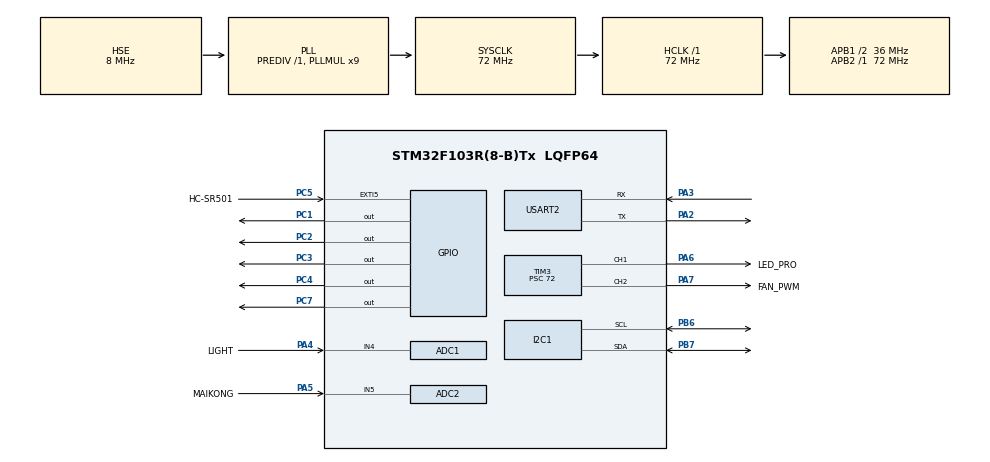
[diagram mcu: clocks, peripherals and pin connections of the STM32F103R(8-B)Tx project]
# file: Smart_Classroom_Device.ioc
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ADC1.Channel-6\#ChannelRegularConversion=ADC_CHANNEL_4
ADC1.NbrOfConversionFlag=1
ADC1.Rank-6\#ChannelRegularConversion=1
ADC1.SamplingTime-6\#ChannelRegularConversion=ADC_SAMPLETIME_1CYCLE_5
ADC1.master=1
ADC2.Channel-2\#ChannelRegularConversion=ADC_CHANNEL_5
ADC2.NbrOfConversionFlag=1
ADC2.Rank-2\#ChannelRegularConversion=1
ADC2.SamplingTime-2\#ChannelRegularConversion=ADC_SAMPLETIME_1CYCLE_5
Mcu.Family=STM32F1
Mcu.Name=STM32F103R(8-B)Tx
Mcu.Package=LQFP64
NVIC.EXTI9_5_IRQn=true\:1\:0\:true\:false\:true\:true\:true\:true
NVIC.PriorityGroup=NVIC_PRIORITYGROUP_4
NVIC.USART2_IRQn=true\:0\:0\:false\:false\:true\:true\:true\:true
PA2.Mode=Asynchronous
PA2.Signal=USART2_TX
PA3.Mode=Asynchronous
PA3.Signal=USART2_RX
PA4.GPIO_Label=LIGHT
PA4.Signal=ADCx_IN4
PA5.GPIO_Label=MAIKONG
PA5.Signal=ADCx_IN5
PA6.GPIO_Label=LED_PRO
PA6.Signal=S_TIM3_CH1
PA7.GPIO_Label=FAN_PWM
PA7.Signal=S_TIM3_CH2
PB6.Mode=I2C
PB6.Signal=I2C1_SCL
PB7.Mode=I2C
PB7.Signal=I2C1_SDA
PC1.Signal=GPIO_Output
PC2.Signal=GPIO_Output
PC3.Signal=GPIO_Output
PC4.Signal=GPIO_Output
PC5.GPIO_Label=HC-SR501
PC5.GPIO_PuPd=GPIO_PULLDOWN
PC5.Signal=GPXTI5
PC7.Signal=GPIO_Output
PD0-OSC_IN.Mode=HSE-External-Oscillator
PD0-OSC_IN.Signal=RCC_OSC_IN
PD1-OSC_OUT.Mode=HSE-External-Oscillator
PD1-OSC_OUT.Signal=RCC_OSC_OUT
ProjectManager.HeapSize=0x200
ProjectManager.StackSize=0x400
ProjectManager.TargetToolchain=MDK-ARM V5.32
RCC.ADCPresc=RCC_ADCPCLK2_DIV6
RCC.AHBFreq_Value=72000000
RCC.APB1CLKDivider=RCC_HCLK_DIV2
RCC.APB1Freq_Value=36000000
RCC.APB1TimFreq_Value=72000000
RCC.APB2Freq_Value=72000000
RCC.APB2TimFreq_Value=72000000
RCC.HCLKFreq_Value=72000000
RCC.PLLMUL=RCC_PLL_MUL9
RCC.PLLSourceVirtual=RCC_PLLSOURCE_HSE
RCC.SYSCLKFreq_VALUE=72000000
RCC.SYSCLKSource=RCC_SYSCLKSOURCE_PLLCLK
RCC.USBFreq_Value=72000000
SH.ADCx_IN4.0=ADC1_IN4,IN4
SH.ADCx_IN5.0=ADC2_IN5,IN5
SH.S_TIM3_CH1.0=TIM3_CH1,PWM Generation1 CH1
SH.S_TIM3_CH2.0=TIM3_CH2,PWM Generation2 CH2
TIM2.Prescaler=71
TIM3.Channel-PWM\ Generation1\ CH1=TIM_CHANNEL_1
TIM3.Channel-PWM\ Generation2\ CH2=TIM_CHANNEL_2
TIM3.Period=499
TIM3.Prescaler=72
USART2.VirtualMode=VM_ASYNC
VP_SYS_VS_ND.Mode=No_Debug
VP_TIM2_VS_ClockSourceINT.Mode=Internal
VP_TIM3_VS_ClockSourceINT.Mode=Internal
board=custom

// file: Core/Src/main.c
/* USER CODE BEGIN Header */
/**
  ******************************************************************************
  * @file           : main.c
  * @brief          : Main program body
  ******************************************************************************
  * @attention
  *
  * Copyright (c) 2026 STMicroelectronics.
  * All rights reserved.
  *
  * This software is licensed under terms that can be found in the LICENSE file
  * in the root directory of this software component.
  * If no LICENSE file comes with this software, it is provided AS-IS.
  *
  ******************************************************************************
  */
/* USER CODE END Header */
#include "main.h"
#include "adc.h"
#include "i2c.h"
#include "tim.h"
#include "usart.h"
#include "gpio.h"

/* USER CODE BEGIN Includes */
#include <stdio.h>
#include <string.h>
#include "dht11.h"
#include "light.h"
#include "maikong.h"
#include "led_pro.h"
#include "eeprom.h"
#include "sht30.h"
#include "oled.h"
#include "fan.h"
/* USER CODE END Includes */

/* USER CODE BEGIN PD */
#define DEVICE_ID "ppppp"
/* USER CODE END PD */

/* USER CODE BEGIN PV */
//用于定时记时间
uint32_t time = 0;
/* USER CODE END PV */

void SystemClock_Config(void);

int main(void)
{

  /* MCU Configuration--------------------------------------------------------*/

  /* Reset of all peripherals, Initializes the Flash interface and the Systick. */
  HAL_Init();

  /* Configure the system clock */
  SystemClock_Config();

  /* Initialize all configured peripherals */
  MX_GPIO_Init();
  MX_ADC1_Init();
  MX_TIM2_Init();
  MX_USART2_UART_Init();
  MX_ADC2_Init();
  MX_TIM3_Init();
  MX_I2C1_Init();
  /* USER CODE BEGIN 2 */
  LED_Pro_Init();
	Light_Init();
	Maikong_Init();
	OLED_Display_On();
	OLED_Init();
	FAN_Init();
  /* USER CODE END 2 */

  /* Infinite loop */
  /* USER CODE BEGIN WHILE */
	time = HAL_GetTick();
	int tick_friend = 0;
	float temp = 0, humi = 0;  //温度
	uint8_t volume = 0; //湿度和声音强度
	uint32_t light = 0; //光照强度

	char upload_data[100];
	char data_oled[30]; 	//在屏幕上面显示
	uint8_t led_hao = 0,led_mode = 0,led_tick = 0;//用于接收判断台灯目前处于什么状态
	uint8_t data = 0;//默认0

	uint32_t t = HAL_GetTick();//获取当前时间，用于周期性采集传感器数据
	EEPROM_Read(0X66, &data);//获取存储器里面的值，看看之前灯是什么状态

	//先设置一下led_pro的状态
	if(data <=3 ) Set_hao(data);
	else if(data == 4 || data == 5) Set_Mode(1);
	else Set_Tick(data - 6);//减去5 之后只能是0 或者 1 或者 2 ，1是定时1分钟，2是定时5分钟

	//显示过度动画
	OLED_Clear();
	for(uint8_t  x = 8; x <= 112; x ++) {

			OLED_ShowHao(x,0);
			OLED_ShowChar(x - 8, 0, ' ', 16);

	}

	OLED_ShowTEmp(0,1);
	OLED_ShowHUm(0,4);
	OLED_ShowTIttle(80,1);

//	HAL_TIM_PWM_Start(&htim3, TIM_CHANNEL_2);
//	HAL_GPIO_WritePin(GPIOC, GPIO_PIN_4, GPIO_PIN_RESET);
//__HAL_TIM_SET_COMPARE(&htim3, TIM_CHANNEL_2, 499);

  while (1)
  {
	  //2s一次采集周期
	  if(HAL_GetTick() - t > 2000) {
		  t = HAL_GetTick();
//		// 使用DHT11采集一次温湿度数据
//		if(DHT11_Get(&temp, &humi) == 0)
//		{
//			// 如果采集温湿度数据成功，就上传云端
//			sprintf(upload_data, "%s/sensor/dht11 %.1f_%u\n", DEVICE_ID, temp, humi);
//			HAL_UART_Transmit(&huart2, (uint8_t*)upload_data, strlen(upload_data), 1000);
//		}

		//使用SHT30采集温湿度
		if(SHT30_Get(&temp,&humi) == 0) {

			sprintf(upload_data,"%s/sensor/sht30 %.2f_%.2f\n",DEVICE_ID,temp, humi);
			HAL_UART_Transmit(&huart2,(uint8_t*)upload_data,strlen(upload_data),1000);

			sprintf(data_oled,"%c%.2f",':',temp);
			OLED_ShowString(32,1,(u8 *)data_oled,16);

			sprintf(data_oled,":%.2f%%RH",humi);
			OLED_ShowString(32,4,(u8 *)data_oled,16);

		}

		// 采集光照强度，并上传到云端
		light = Light_Get();
		sprintf(upload_data, "%s/sensor/light %u\n", DEVICE_ID, light);
		HAL_UART_Transmit(&huart2, (uint8_t*)upload_data, strlen(upload_data), 1000);

		//采集声音强度，上传云端
		volume = Volume_Get();
		sprintf(upload_data, "%s/sensor/volume %u\n", DEVICE_ID, volume);
		HAL_UART_Transmit(&huart2, (uint8_t*)upload_data, strlen(upload_data), 1000);
		// 其他传感器可以在这里扩展
		// ......
	}
	  //获取当前台灯的状态值，判断目前是什么状态，从而执行台灯相应的动作
		Get_Every(&led_hao,&led_mode,&led_tick);

		//如果不是呼吸，那么就执行开灯，避免开灯产生的ccr影响呼吸
		if(led_mode == 0) {

			LED_PRO_Open(led_hao);
		}
		//如果是呼吸，那就执行
		else  LED_PRO_Mode(led_mode);

		//如果开启定时，开启定时当前时间只能改变一次，frined = 1
		if(tick_friend == 0 && led_tick > 0)LED_PRO_Time(led_tick),tick_friend = 1;

		//如果开启定时又关闭了定时，那么需要提前把frined给置为0，要不然下一次不会有新的时间
		if(led_tick == 0) tick_friend = 0;

		//这里是时间到达执行的动作
		if(led_tick > 0 && HAL_GetTick() - time > led_tick * 1000 * 3) {

			Set_Tick(0);

			LED_PRO_Time(0); //这里关闭定时，在上面会帮助我们关闭所有的灯，因为已经把挡位和呼吸都置为0

			tick_friend = 0;
		}

    /* USER CODE END WHILE */

  }
}

void SystemClock_Config(void)
{
  RCC_OscInitTypeDef RCC_OscInitStruct = {0};
  RCC_ClkInitTypeDef RCC_ClkInitStruct = {0};
  RCC_PeriphCLKInitTypeDef PeriphClkInit = {0};

  /** Initializes the RCC Oscillators according to the specified parameters
  * in the RCC_OscInitTypeDef structure.
  */
  RCC_OscInitStruct.OscillatorType = RCC_OSCILLATORTYPE_HSE;
  RCC_OscInitStruct.HSEState = RCC_HSE_ON;
  RCC_OscInitStruct.HSEPredivValue = RCC_HSE_PREDIV_DIV1;
  RCC_OscInitStruct.HSIState = RCC_HSI_ON;
  RCC_OscInitStruct.PLL.PLLState = RCC_PLL_ON;
  RCC_OscInitStruct.PLL.PLLSource = RCC_PLLSOURCE_HSE;
  RCC_OscInitStruct.PLL.PLLMUL = RCC_PLL_MUL9;
  if (HAL_RCC_OscConfig(&RCC_OscInitStruct) != HAL_OK)
  {
    Error_Handler();
  }

  /** Initializes the CPU, AHB and APB buses clocks
  */
  RCC_ClkInitStruct.ClockType = RCC_CLOCKTYPE_HCLK|RCC_CLOCKTYPE_SYSCLK
                              |RCC_CLOCKTYPE_PCLK1|RCC_CLOCKTYPE_PCLK2;
  RCC_ClkInitStruct.SYSCLKSource = RCC_SYSCLKSOURCE_PLLCLK;
  RCC_ClkInitStruct.AHBCLKDivider = RCC_SYSCLK_DIV1;
  RCC_ClkInitStruct.APB1CLKDivider = RCC_HCLK_DIV2;
  RCC_ClkInitStruct.APB2CLKDivider = RCC_HCLK_DIV1;

  if (HAL_RCC_ClockConfig(&RCC_ClkInitStruct, FLASH_LATENCY_2) != HAL_OK)
  {
    Error_Handler();
  }
  PeriphClkInit.PeriphClockSelection = RCC_PERIPHCLK_ADC;
  PeriphClkInit.AdcClockSelection = RCC_ADCPCLK2_DIV6;
  if (HAL_RCCEx_PeriphCLKConfig(&PeriphClkInit) != HAL_OK)
  {
    Error_Handler();
  }
}

void Error_Handler(void)
{
  __disable_irq();
  while (1)
  {
  }
}
